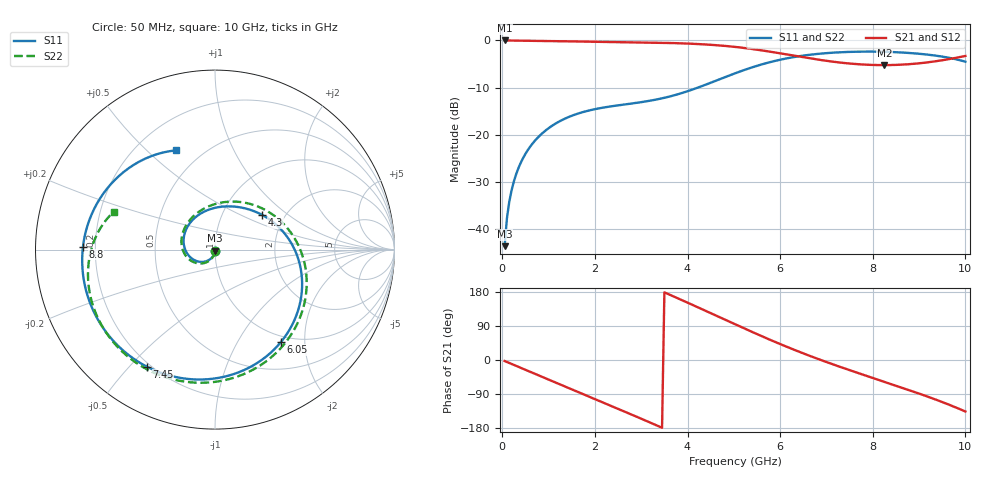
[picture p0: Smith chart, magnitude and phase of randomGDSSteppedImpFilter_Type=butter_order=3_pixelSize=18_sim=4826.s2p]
! freq	dB(S11)	phase(S11)	dB(S12)	phase(S12)
!  dB(S21)	phase(S21)	dB(S22)	phase(S22)
!S-par simulation data
#  GHz  S  DB  R 50
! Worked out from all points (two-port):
!   200 points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, 50 MHz to 10 GHz, reference 50 ohm
!   highest |S21| = 0.00 dB at 50 MHz (marker M1); lowest = -5.2 dB at 8.25 GHz (marker M2)
!   |S21| within 3 dB of the highest: start of sweep to 6.162 GHz
!   lowest |S11| = -43.6 dB at 50 MHz (marker M3), VSWR 1.01, Z = 50 - j0.659 ohm
!   |S11| at or under -10 dB: start of sweep to 4.224 GHz
!   |S22| runs from -43.6 to -2.3 dB; largest |S21 - S12| = 0
!   S11 on the Smith chart (normalised r, x): 50 MHz: 1.00, -0.01; 4.3 GHz: 1.54, +0.67; 6.05 GHz: 0.91, -1.55; 7.45 GHz: 0.18, -0.56; 8.8 GHz: 0.15, +0.01; 10 GHz: 0.36, +0.62
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0.05  -43.62 -91.3  -0.00 -2.6  -0.00 -2.6  -43.61 -90.8
0.1  -37.72 -94.5  -0.01 -5.2  -0.01 -5.2  -37.71 -93.7
0.2  -31.80 -100.7  -0.02 -10.4  -0.02 -10.4  -31.79 -99.2
0.5  -24.04 -118.2  -0.05 -25.9  -0.05 -25.9  -24.04 -114.5
1.15  -17.63 -154.5  -0.15 -59.3  -0.15 -59.3  -17.63 -145.9
1.75  -15.17 172.2  -0.24 -90.1  -0.24 -90.1  -15.18 -174.4
2.5  -13.76 130.8  -0.34 -128.7  -0.34 -128.7  -13.79 149.5
2.95  -13.16 106.3  -0.41 -152.2  -0.41 -152.2  -13.21 126.8
3.4  -12.38 82.4  -0.49 -176.1  -0.49 -176.1  -12.44 102.8
3.85  -11.24 59.2  -0.61 159.6  -0.61 159.6  -11.30 77.4
4.3  -9.73 36.3  -0.80 134.8  -0.80 134.8  -9.78 51.0
4.7  -8.20 15.7  -1.07 112.6  -1.07 112.6  -8.24 27.4
5.05  -6.88 -2.5  -1.40 93.1  -1.40 93.1  -6.91 7.1
5.55  -5.23 -28.7  -2.03 65.7  -2.03 65.7  -5.24 -20.9
6.05  -3.99 -54.3  -2.82 39.5  -2.82 39.5  -3.98 -47.0
6.7  -2.97 -86.0  -3.89 8.1  -3.89 8.1  -2.94 -77.5
7.45  -2.44 -120.2  -4.85 -24.7  -4.85 -24.7  -2.38 -108.3
8.25  -2.41 -155.7  -5.23 -57.5  -5.23 -57.5  -2.32 -137.5
8.35  -2.44 -160.3  -5.22 -61.5  -5.22 -61.5  -2.34 -141.0
8.8  -2.67 178.7  -5.02 -80.1  -5.02 -80.1  -2.55 -156.8
9.4  -3.28 148.0  -4.36 -106.3  -4.36 -106.3  -3.15 -178.0
10  -4.51 111.7  -3.29 -135.9  -3.29 -135.9  -4.40 159.6
